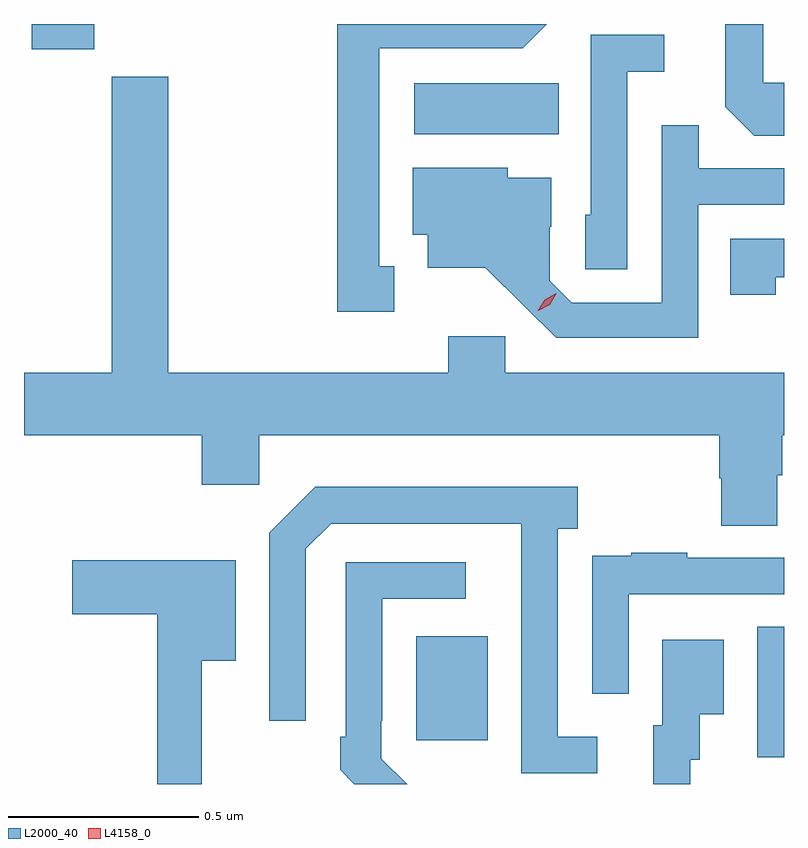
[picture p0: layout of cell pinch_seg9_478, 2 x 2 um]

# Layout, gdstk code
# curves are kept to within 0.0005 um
import gdstk
lib = gdstk.Library(unit=1e-6, precision=1e-09)
def R(c, l, rs):  # rectangles x0, y0, x1, y1
    for r in rs: c.add(gdstk.rectangle(r[:2], r[2:], *l))
def P(c, l, *ps):  # polygons
    for p in ps: c.add(gdstk.Polygon(p, *l))
L2000_40 = (2000, 40)
L4158_0 = (4158, 0)

pinch_seg9_478 = lib.new_cell('pinch_seg9_478')
R(pinch_seg9_478, L2000_40, [(263.708,1190.245,263.779,1190.588), (262.811,1190.289,262.999,1190.563), (262.806,1191.884,263.186,1192.018), (261.8,1192.107,261.964,1192.174)])
P(pinch_seg9_478, L2000_40, [(263.779,1192.02),(263.724,1192.02),(263.724,1192.174),(263.625,1192.174),(263.625,1191.956),(263.701,1191.88),(263.779,1191.88)],
  [(262.753,1191.537),(262.714,1191.537),(262.714,1192.11),(263.091,1192.11),(263.155,1192.174),(262.603,1192.174),(262.603,1191.417),(262.753,1191.417)],
  [(263.367,1192.049),(263.464,1192.049),(263.464,1192.146),(263.271,1192.146),(263.271,1191.672),(263.256,1191.672),(263.256,1191.529),(263.367,1191.529)],
  [(263.761,1190.986),(263.774,1190.986),(263.774,1191.092),(263.779,1191.092),(263.779,1191.256),(263.046,1191.256),(263.046,1191.352),(262.895,1191.352),(262.895,1191.256),(262.158,1191.256),(262.158,1192.035),(262.01,1192.035),(262.01,1191.256),(261.779,1191.256),(261.779,1191.092),(262.247,1191.092),(262.247,1190.961),(262.398,1190.961),(262.398,1191.092),(263.609,1191.092),(263.609,1190.979),(263.614,1190.979),(263.614,1190.854),(263.761,1190.854)],
  [(263.553,1191.699),(263.779,1191.699),(263.779,1191.795),(263.555,1191.795),(263.555,1191.908),(263.457,1191.908),(263.457,1191.441),(263.22,1191.441),(263.163,1191.498),(263.163,1191.64),(263.167,1191.64),(263.167,1191.769),(263.052,1191.769),(263.052,1191.796),(262.802,1191.796),(262.802,1191.62),(262.841,1191.62),(262.841,1191.533),(262.993,1191.533),(263.18,1191.348),(263.553,1191.348)],
  [(263.757,1191.508),(263.779,1191.508),(263.779,1191.609),(263.638,1191.609),(263.638,1191.462),(263.757,1191.462)],
  [(263.287,1190.298),(263.184,1190.298),(263.184,1190.846),(263.236,1190.846),(263.236,1190.956),(262.546,1190.956),(262.425,1190.835),(262.425,1190.34),(262.521,1190.34),(262.521,1190.793),(262.587,1190.859),(263.087,1190.859),(263.087,1190.659),(263.088,1190.659),(263.088,1190.202),(263.287,1190.202)],
  [(263.37,1190.673),(263.779,1190.673),(263.779,1190.769),(263.525,1190.769),(263.525,1190.782),(263.377,1190.782),(263.377,1190.775),(263.275,1190.775),(263.275,1190.666),(263.274,1190.666),(263.274,1190.412),(263.37,1190.412)],
  [(262.247,1190.498),(262.336,1190.498),(262.336,1190.763),(261.906,1190.763),(261.906,1190.621),(262.129,1190.621),(262.129,1190.174),(262.247,1190.174)],
  [(262.719,1190.241),(262.719,1190.341),(262.722,1190.341),(262.722,1190.661),(262.942,1190.661),(262.942,1190.757),(262.626,1190.757),(262.626,1190.299),(262.611,1190.299),(262.611,1190.211),(262.648,1190.174),(262.787,1190.174)],
  [(263.532,1190.238),(263.557,1190.238),(263.557,1190.357),(263.62,1190.357),(263.62,1190.554),(263.459,1190.554),(263.459,1190.328),(263.435,1190.328),(263.435,1190.174),(263.532,1190.174)])
P(pinch_seg9_478, L4158_0, [(263.131,1191.42),(263.131,1191.42),(263.149,1191.449),(263.18,1191.465),(263.18,1191.465),(263.18,1191.464),(263.163,1191.435),(263.132,1191.42)])

lib.write_gds('pinch_seg9_478.gds')
